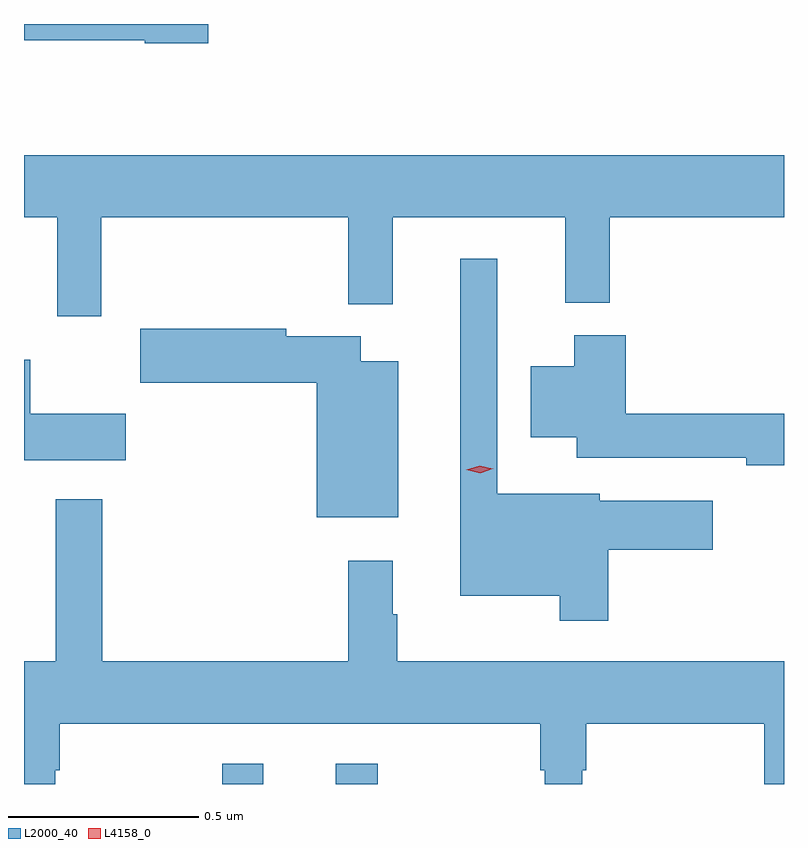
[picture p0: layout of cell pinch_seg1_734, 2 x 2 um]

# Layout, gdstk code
import gdstk
lib = gdstk.Library(unit=1e-6, precision=1e-09)
def R(c, l, rs):  # rectangles x0, y0, x1, y1
    for r in rs: c.add(gdstk.rectangle(r[:2], r[2:], *l))
def P(c, l, *ps):  # polygons
    for p in ps: c.add(gdstk.Polygon(p, *l))
L2000_40 = (2000, 40)
L4158_0 = (4158, 0)

pinch_seg1_734 = lib.new_cell('pinch_seg1_734')
R(pinch_seg1_734, L2000_40, [(641.742,538.253,641.85,538.306), (642.041,538.253,642.151,538.306)])
P(pinch_seg1_734, L2000_40, [(641.705,540.253),(641.22,540.253),(641.22,540.21),(641.538,540.21),(641.538,540.202),(641.705,540.202)],
  [(641.423,539.744),(642.073,539.744),(642.073,539.516),(642.191,539.516),(642.191,539.744),(642.644,539.744),(642.644,539.519),(642.761,539.519),(642.761,539.744),(643.22,539.744),(643.22,539.908),(641.22,539.908),(641.22,539.744),(641.307,539.744),(641.307,539.484),(641.423,539.484)],
  [(642.758,538.87),(643.033,538.87),(643.033,538.999),(642.735,538.999),(642.735,539.017),(642.465,539.017),(642.465,539.635),(642.368,539.635),(642.368,538.748),(642.63,538.748),(642.63,538.683),(642.758,538.683)],
  [(642.205,539.365),(642.106,539.365),(642.106,539.431),(641.91,539.431),(641.91,539.451),(641.526,539.451),(641.526,539.309),(641.99,539.309),(641.99,538.955),(642.205,538.955)],
  [(643.22,539.228),(642.803,539.228),(642.803,539.434),(642.668,539.434),(642.668,539.353),(642.554,539.353),(642.554,539.165),(642.674,539.165),(642.674,539.112),(643.12,539.112),(643.12,539.092),(643.22,539.092)],
  [(641.488,539.227),(641.236,539.227),(641.236,539.37),(641.22,539.37),(641.22,539.105),(641.488,539.105)],
  [(641.302,538.289),(641.314,538.289),(641.314,538.412),(642.579,538.412),(642.579,538.289),(642.59,538.289),(642.59,538.253),(642.689,538.253),(642.689,538.289),(642.7,538.289),(642.7,538.412),(643.168,538.412),(643.168,538.253),(643.22,538.253),(643.22,538.576),(642.202,538.576),(642.202,538.7),(642.19,538.7),(642.19,538.84),(642.073,538.84),(642.073,538.576),(641.426,538.576),(641.426,539.002),(641.303,539.002),(641.303,538.576),(641.22,538.576),(641.22,538.253),(641.302,538.253)])
P(pinch_seg1_734, L4158_0, [(642.42,539.071),(642.384,539.08),(642.384,539.08),(642.384,539.08),(642.419,539.091),(642.454,539.083),(642.455,539.082),(642.454,539.082)])

lib.write_gds('pinch_seg1_734.gds')
